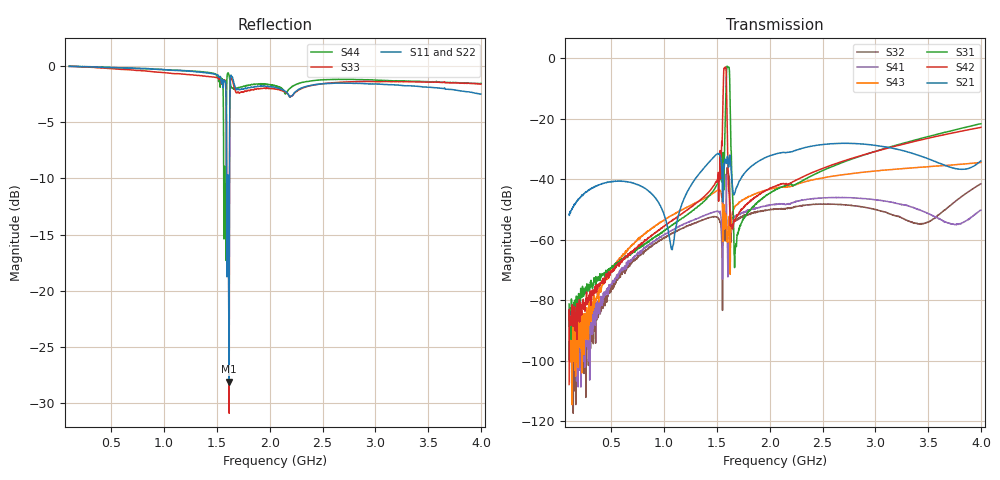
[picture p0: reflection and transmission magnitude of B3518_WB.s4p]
! Matrix data file written by TouchstoneData, EPCOS AG
! FILENAME: "b3518_unm3_WB.s4p_newformat"
! COMMENT: "(b3518_unm3_WB.s4p) EPCOS AG 13.01.2011 15:4"
! INFO: nport=4, nfreq=1601
! DATE: "Tue Apr 19 11:15:11 2011"
! USER: "Sergey Rostovtsev"
! port | pin | signal
!  1  |  2  |  GLON IN
!  2  |  3  |  GPS IN
!  3  |  9  |  GLON OUT
!  4  |  6  |  GPS OUT
# MHZ S MA R 50
! freq  magS11 angS11  magS12 angS12  magS13 angS13  magS14 angS14  ...
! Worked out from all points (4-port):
!   1601 points, 100 MHz to 4 GHz, reference 50 ohm
!   strongest paths, dB at 100 MHz, 1.075 GHz, 2.05 GHz, 3.025 GHz, 4 GHz:
!     S21: -51.6, -62.9, -31.7, -28.9, -33.9
!     S42: -107.9, -53.6, -42.3, -30.6, -22.8
!     S31: -81.3, -55.1, -43.5, -30.5, -21.6
!     S43: -88.0, -51.9, -42.9, -37.2, -34.4
!     S41: -89.6, -56.8, -48.2, -46.9, -50.2
!     S32: -86.6, -57.7, -49.8, -50.2, -41.5
!   lowest |S11| = -28.1 dB at 1.614 GHz (marker M1), VSWR 1.08, Z = 52.1 - j3.41 ohm
!   |S11| at or under -10 dB: 1.592 GHz to 1.601 GHz (9.008 MHz wide, 0.564 % of centre); 1.605 GHz to 1.619 GHz (14.23 MHz wide, 0.883 % of centre)
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100  0.9974 -8.9  0.002619 80.3  9.077e-05 95.2  2.722e-05 51.7
     0.002633 80.4  0.9982 -9.5  3.751e-05 17.9  1.712e-05 -24.2
     8.658e-05 90.3  4.691e-05 16.5  0.9964 -8.8  2.952e-05 -23.6
     3.296e-05 75.7  4.043e-06 75.3  3.968e-05 23.4  0.9975 -9.8
1075  0.9574 -89.2  0.0007174 92.0  0.001753 -3.1  0.001458 174.3
      0.0007173 90.5  0.967 -96.2  0.00129 174.0  0.002085 -11.3
      0.001762 -3.4  0.001296 174.1  0.9261 -88.7  0.00255 173.3
      0.001438 173.8  0.002085 -10.9  0.002537 173.5  0.9596 -96.9
1501.562  0.9131 -152.0  0.02629 103.8  0.008183 -65.3  0.002958 109.5
          0.02628 103.8  0.9041 -176.9  0.002355 110.5  0.009575 -89.3
          0.008146 -65.3  0.002349 110.4  0.8879 -148.4  0.006495 107.3
          0.002973 109.9  0.00959 -89.3  0.006486 107.6  0.9092 -173.4
1574.688  0.8616 85.0  0.02115 107.9  0.04895 -4.6  0.01062 -174.8
          0.02119 107.7  0.3416 -34.9  0.001143 -87.6  0.6888 25.8
          0.04891 -4.6  0.001137 -88.5  0.8681 92.8  0.001781 60.3
          0.01061 -174.9  0.6888 25.8  0.00178 60.1  0.3313 -42.0
1613.688  0.03942 -56.0  0.01689 88.2  0.7105 -79.0  0.002049 -145.4
          0.01687 88.3  0.922 -67.5  0.01161 -56.3  0.006271 44.9
          0.7107 -78.9  0.01162 -56.4  0.06289 -68.8  0.002238 164.4
          0.00207 -145.6  0.006277 44.8  0.002242 164.9  0.9157 -70.7
1679.5  0.7911 -88.1  0.006862 111.9  0.0008075 -58.1  0.002434 165.8
        0.006875 112.0  0.7891 -102.1  0.002165 169.2  0.002264 -51.3
        0.0008189 -58.3  0.002138 170.0  0.7641 -87.4  0.003672 164.0
        0.002446 165.7  0.002282 -51.4  0.003662 163.9  0.7957 -103.4
4000  0.7518 99.4  0.02019 -6.1  0.08355 -168.6  0.003124 150.6
      0.02014 -9.5  0.7656 95.3  0.00847 172.8  0.07219 -172.7
      0.08284 -149.7  0.008421 -165.0  0.8309 132.3  0.01895 35.8
      0.003098 170.6  0.07232 -149.7  0.01903 36.7  0.8378 127.5
